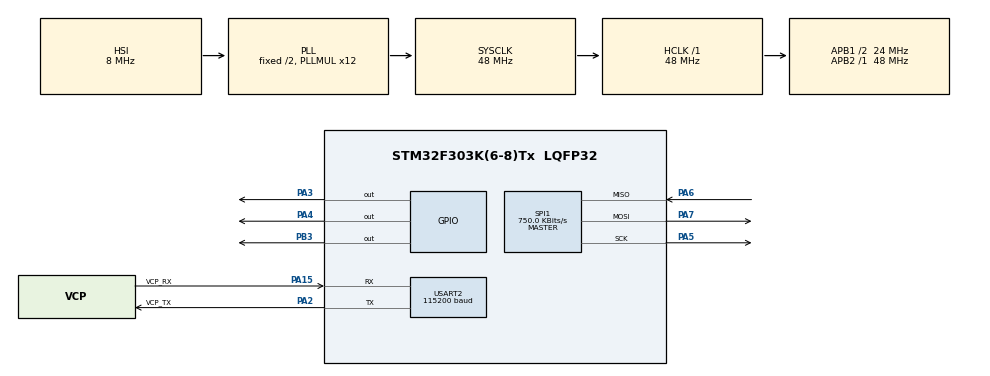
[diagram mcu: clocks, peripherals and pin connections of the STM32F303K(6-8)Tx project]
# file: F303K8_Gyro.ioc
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Mcu.Family=STM32F3
Mcu.Name=STM32F303K(6-8)Tx
Mcu.Package=LQFP32
NVIC.PriorityGroup=NVIC_PRIORITYGROUP_4
NVIC.TIM3_IRQn=true\:0\:0\:false\:false\:true\:true\:true
PA13.GPIO_Label=SWDIO
PA13.Mode=Serial_Wire
PA13.Signal=SYS_JTMS-SWDIO
PA14.GPIO_Label=SWCLK
PA14.Mode=Serial_Wire
PA14.Signal=SYS_JTCK-SWCLK
PA15.GPIO_Label=VCP_RX
PA15.Mode=Asynchronous
PA15.Signal=USART2_RX
PA2.GPIO_Label=VCP_TX
PA2.Mode=Asynchronous
PA2.Signal=USART2_TX
PA3.Signal=GPIO_Output
PA4.Signal=GPIO_Output
PA5.Mode=Full_Duplex_Master
PA5.Signal=SPI1_SCK
PA6.Mode=Full_Duplex_Master
PA6.Signal=SPI1_MISO
PA7.Mode=Full_Duplex_Master
PA7.Signal=SPI1_MOSI
PB3.Signal=GPIO_Output
PF0\ /\ OSC_IN.GPIO_Label=MCO
PF0\ /\ OSC_IN.Mode=HSE-External-Clock-Source
PF0\ /\ OSC_IN.Signal=RCC_OSC_IN
ProjectManager.HeapSize=0x200
ProjectManager.StackSize=0x400
ProjectManager.TargetToolchain=Makefile
RCC.AHBFreq_Value=48000000
RCC.APB1CLKDivider=RCC_HCLK_DIV2
RCC.APB1Freq_Value=24000000
RCC.APB1TimFreq_Value=48000000
RCC.APB2Freq_Value=48000000
RCC.APB2TimFreq_Value=48000000
RCC.CortexFreq_Value=48000000
RCC.HCLKFreq_Value=48000000
RCC.HSE_VALUE=8000000
RCC.HSI_VALUE=8000000
RCC.PLLMUL=RCC_PLL_MUL12
RCC.SYSCLKFreq_VALUE=48000000
RCC.SYSCLKSourceVirtual=RCC_SYSCLKSOURCE_PLLCLK
SPI1.BaudRatePrescaler=SPI_BAUDRATEPRESCALER_64
SPI1.CLKPhase=SPI_PHASE_2EDGE
SPI1.CLKPolarity=SPI_POLARITY_HIGH
SPI1.CalculateBaudRate=750.0 KBits/s
SPI1.DataSize=SPI_DATASIZE_8BIT
SPI1.Direction=SPI_DIRECTION_2LINES
SPI1.Mode=SPI_MODE_MASTER
SPI1.VirtualType=VM_MASTER
TIM3.Period=100-1
TIM3.Prescaler=30
USART2.BaudRate=115200
USART2.VirtualMode-Asynchronous=VM_ASYNC
VP_TIM3_VS_ClockSourceINT.Mode=Internal
board=NUCLEO-F303K8

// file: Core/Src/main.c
/* USER CODE BEGIN Header */
/**
 ******************************************************************************
 * @file           : main.c
 * @brief          : Main program body
 ******************************************************************************
 * @attention
 *
 * <h2><center>&copy; Copyright (c) 2021 STMicroelectronics.
 * All rights reserved.</center></h2>
 *
 * This software component is licensed by ST under BSD 3-Clause license,
 * the "License"; You may not use this file except in compliance with the
 * License. You may obtain a copy of the License at:
 *                        opensource.org/licenses/BSD-3-Clause
 *
 ******************************************************************************
 */
/* USER CODE END Header */
#include "main.h"

/* USER CODE BEGIN Includes */
#include <stdio.h>
#include <stdint.h>
#include <stdbool.h>
#include <string.h>
#include <math.h>

/* USER CODE END Includes */

/* USER CODE BEGIN PD */
#define ADDRESS 0x68
#define WHO_AM_I 0x75

#define PWR_MGMT_1 0x6B
#define CONFIG 0x1A
#define GYRO_CONFIG 0x1B
#define ACCEL_CONFIG 0x1C

#define ACCEL_XOUT_H 0x3B
#define ACCEL_XOUT_L 0x3C
#define ACCEL_YOUT_H 0x3D
#define ACCEL_YOUT_L 0x3E
#define ACCEL_ZOUT_H 0x3F
#define ACCEL_ZOUT_L 0x40

#define GYRO_XOUT_H 0x43
#define GYRO_XOUT_L 0x44
#define GYRO_YOUT_H 0x45
#define GYRO_YOUT_L 0x46
#define GYRO_ZOUT_H 0x47
#define GYRO_ZOUT_L 0x48

#define GYRO_FACTOR 16.4
#define ACCEL_FACTOR 16384.0
/* USER CODE END PD */

SPI_HandleTypeDef hspi1;

TIM_HandleTypeDef htim3;

UART_HandleTypeDef huart2;

void SystemClock_Config(void);
static void MX_GPIO_Init(void);
static void MX_USART2_UART_Init(void);
static void MX_SPI1_Init(void);
static void MX_TIM3_Init(void);

/* USER CODE BEGIN 0 */
int _write(int file, char *ptr, int len)
{
  HAL_UART_Transmit(&huart2, (uint8_t *)ptr, len, 10);
  return len;
}

uint8_t read_byte1(uint8_t reg)
{
  uint8_t rx_data[2];
  uint8_t tx_data[2];

  tx_data[0] = reg | 0x80;
  tx_data[1] = 0x00; // dummy

  HAL_GPIO_WritePin(GPIOA, GPIO_PIN_4, GPIO_PIN_RESET);
  HAL_SPI_TransmitReceive(&hspi1, tx_data, rx_data, 2, 1);
  HAL_GPIO_WritePin(GPIOA, GPIO_PIN_4, GPIO_PIN_SET);

  return rx_data[1];
}

void write_byte1(uint8_t reg, uint8_t data)
{
  uint8_t rx_data[2];
  uint8_t tx_data[2];

  tx_data[0] = reg & 0x7F;
  //   tx_data[0] = reg | 0x00;
  tx_data[1] = data; // write data

  HAL_GPIO_WritePin(GPIOA, GPIO_PIN_4, GPIO_PIN_RESET); // CSピン立ち下げ
  HAL_SPI_TransmitReceive(&hspi1, tx_data, rx_data, 2, 1);
  HAL_GPIO_WritePin(GPIOA, GPIO_PIN_4, GPIO_PIN_SET); // CSピン立ち上げ
}

uint8_t read_byte2(uint8_t reg)
{
  uint8_t rx_data[2];
  uint8_t tx_data[2];

  tx_data[0] = reg | 0x80;
  tx_data[1] = 0x00; // dummy

  HAL_GPIO_WritePin(GPIOA, GPIO_PIN_3, GPIO_PIN_RESET);
  HAL_SPI_TransmitReceive(&hspi1, tx_data, rx_data, 2, 1);
  HAL_GPIO_WritePin(GPIOA, GPIO_PIN_3, GPIO_PIN_SET);

  return rx_data[1];
}

void write_byte2(uint8_t reg, uint8_t data)
{
  uint8_t rx_data[2];
  uint8_t tx_data[2];

  tx_data[0] = reg & 0x7F;
  //   tx_data[0] = reg | 0x00;
  tx_data[1] = data; // write data

  HAL_GPIO_WritePin(GPIOA, GPIO_PIN_3, GPIO_PIN_RESET); // CSピン立ち下げ
  HAL_SPI_TransmitReceive(&hspi1, tx_data, rx_data, 2, 1);
  HAL_GPIO_WritePin(GPIOA, GPIO_PIN_3, GPIO_PIN_SET); // CSピン立ち上げ
}

void MPU6500_1_Init()
{
  HAL_GPIO_WritePin(GPIOB, GPIO_PIN_3, GPIO_PIN_SET);
  uint8_t who_am_i1;

  HAL_Delay(100);                            // wait start up
  who_am_i1 = read_byte1(WHO_AM_I);          // read who am i
  printf("who_am_i1 = 0x%x\r\n", who_am_i1); // check who am i value
  HAL_Delay(10);

  if (who_am_i1 != 0x70)
  {
    printf("mpu6500_1 error");
  }

  HAL_Delay(50);
  write_byte1(PWR_MGMT_1, 0x00); // set pwr_might (20MHz)
  HAL_Delay(50);
  write_byte1(CONFIG, 0x00); // set config (FSYNCはNC)
  HAL_Delay(50);
  write_byte1(GYRO_CONFIG, 0x18); // set gyro config (2000dps)
  HAL_Delay(50);
  write_byte1(ACCEL_CONFIG, 0x00); // set accel config (2g)
  HAL_Delay(50);
}

void MPU6500_2_Init()
{
  uint8_t who_am_i2;

  HAL_Delay(100);                            // wait start up
  who_am_i2 = read_byte2(WHO_AM_I);          // read who am i
  printf("who_am_i2 = 0x%x\r\n", who_am_i2); // check who am i value
  HAL_Delay(10);

  if (who_am_i2 != 0x70)
  {
    printf("mpu6500_2 error");
  }

  HAL_Delay(50);
  write_byte2(PWR_MGMT_1, 0x00); // set pwr_might (20MHz)
  HAL_Delay(50);
  write_byte2(CONFIG, 0x00); // set config (FSYNCはNC)
  HAL_Delay(50);
  write_byte2(GYRO_CONFIG, 0x18); // set gyro config (2000dps)
  HAL_Delay(50);
  write_byte2(ACCEL_CONFIG, 0x00); // set accel config (2g)
}

bool flag_offset;
bool flag_led;
float ax1, ay1, az1;
float gx1, gy1, gz1;
float ax1_offset, ay1_offset, az1_offset;
float gx1_offset, gy1_offset, gz1_offset;

void MPU6500_1_OffsetCalc()
{
  flag_offset = false;
  int16_t ax_raw, ay_raw, az_raw;
  int16_t gx_raw, gy_raw, gz_raw;
  float ax_sum = 0;
  float ay_sum = 0;
  float az_sum = 0;
  float gx_sum = 0;
  float gy_sum = 0;
  float gz_sum = 0;

  for (int i = 0; i < 1000; i++)
  {
    // H:8bit shift, Link h and l
    ax_raw = (int16_t)((uint16_t)(read_byte1(ACCEL_XOUT_H) << 8) | (uint16_t)read_byte1(ACCEL_XOUT_L));
    ay_raw = (int16_t)((uint16_t)(read_byte1(ACCEL_YOUT_H) << 8) | (uint16_t)read_byte1(ACCEL_YOUT_L));
    az_raw = (int16_t)((uint16_t)(read_byte1(ACCEL_ZOUT_H) << 8) | (uint16_t)read_byte1(ACCEL_ZOUT_L));
    gx_raw = (int16_t)((uint16_t)(read_byte1(GYRO_XOUT_H) << 8) | (uint16_t)read_byte1(GYRO_XOUT_L));
    gy_raw = (int16_t)((uint16_t)(read_byte1(GYRO_YOUT_H) << 8) | (uint16_t)read_byte1(GYRO_YOUT_L));
    gz_raw = (int16_t)((uint16_t)(read_byte1(GYRO_ZOUT_H) << 8) | (uint16_t)read_byte1(GYRO_ZOUT_L));

    ax1 = (float)(ax_raw / ACCEL_FACTOR);
    ay1 = (float)(ay_raw / ACCEL_FACTOR);
    az1 = (float)(az_raw / ACCEL_FACTOR);
    gx1 = (float)(gx_raw / GYRO_FACTOR); // dps to deg/sec
    gy1 = (float)(gy_raw / GYRO_FACTOR);
    gz1 = (float)(gz_raw / GYRO_FACTOR);

    ax_sum += ax1;
    ay_sum += ay1;
    az_sum += az1;
    gx_sum += gx1;
    gy_sum += gy1;
    gz_sum += gz1;
    HAL_Delay(1);
  }
  ax1_offset = ax_sum / 1000.0;
  ay1_offset = ay_sum / 1000.0;
  az1_offset = az_sum / 1000.0;
  gx1_offset = gx_sum / 1000.0;
  gy1_offset = gy_sum / 1000.0;
  gz1_offset = gz_sum / 1000.0;
}

float ax2, ay2, az2;
float gx2, gy2, gz2;
float ax2_offset, ay2_offset, az2_offset;
float gx2_offset, gy2_offset, gz2_offset;

void MPU6500_2_OffsetCalc()
{

  int16_t ax_raw, ay_raw, az_raw;
  int16_t gx_raw, gy_raw, gz_raw;
  float ax_sum = 0;
  float ay_sum = 0;
  float az_sum = 0;
  float gx_sum = 0;
  float gy_sum = 0;
  float gz_sum = 0;

  for (int i = 0; i < 1000; i++)
  {
    // H:8bit shift, Link h and l
    ax_raw = (int16_t)((uint16_t)(read_byte2(ACCEL_XOUT_H) << 8) | (uint16_t)read_byte2(ACCEL_XOUT_L));
    ay_raw = (int16_t)((uint16_t)(read_byte2(ACCEL_YOUT_H) << 8) | (uint16_t)read_byte2(ACCEL_YOUT_L));
    az_raw = (int16_t)((uint16_t)(read_byte2(ACCEL_ZOUT_H) << 8) | (uint16_t)read_byte2(ACCEL_ZOUT_L));
    gx_raw = (int16_t)((uint16_t)(read_byte2(GYRO_XOUT_H) << 8) | (uint16_t)read_byte2(GYRO_XOUT_L));
    gy_raw = (int16_t)((uint16_t)(read_byte2(GYRO_YOUT_H) << 8) | (uint16_t)read_byte2(GYRO_YOUT_L));
    gz_raw = (int16_t)((uint16_t)(read_byte2(GYRO_ZOUT_H) << 8) | (uint16_t)read_byte2(GYRO_ZOUT_L));

    ax2 = (float)(ax_raw / ACCEL_FACTOR);
    ay2 = (float)(ay_raw / ACCEL_FACTOR);
    az2 = (float)(az_raw / ACCEL_FACTOR);
    gx2 = (float)(gx_raw / GYRO_FACTOR); // dps to deg/sec
    gy2 = (float)(gy_raw / GYRO_FACTOR);
    gz2 = (float)(gz_raw / GYRO_FACTOR);

    ax_sum += ax2;
    ay_sum += ay2;
    az_sum += az2;
    gx_sum += gx2;
    gy_sum += gy2;
    gz_sum += gz2;
    HAL_Delay(1);
  }
  ax2_offset = ax_sum / 1000.0;
  ay2_offset = ay_sum / 1000.0;
  az2_offset = az_sum / 1000.0;
  gx2_offset = gx_sum / 1000.0;
  gy2_offset = gy_sum / 1000.0;
  gz2_offset = gz_sum / 1000.0;

  HAL_GPIO_WritePin(GPIOB, GPIO_PIN_3, GPIO_PIN_RESET);
  flag_offset = true;
  flag_led = false;
}

const float mu = 9.0;
float Get_MPU6500_Data()
{
  int16_t ax_raw, ay_raw, az_raw;
  int16_t gx_raw, gy_raw, gz_raw;

  // H:8bit shift, Link h and l
  ax_raw = (int16_t)((uint16_t)(read_byte1(ACCEL_XOUT_H) << 8) | (uint16_t)read_byte1(ACCEL_XOUT_L));
  ay_raw = (int16_t)((uint16_t)(read_byte1(ACCEL_YOUT_H) << 8) | (uint16_t)read_byte1(ACCEL_YOUT_L));
  az_raw = (int16_t)((uint16_t)(read_byte1(ACCEL_ZOUT_H) << 8) | (uint16_t)read_byte1(ACCEL_ZOUT_L));
  gx_raw = (int16_t)((uint16_t)(read_byte1(GYRO_XOUT_H) << 8) | (uint16_t)read_byte1(GYRO_XOUT_L));
  gy_raw = (int16_t)((uint16_t)(read_byte1(GYRO_YOUT_H) << 8) | (uint16_t)read_byte1(GYRO_YOUT_L));
  gz_raw = (int16_t)((uint16_t)(read_byte1(GYRO_ZOUT_H) << 8) | (uint16_t)read_byte1(GYRO_ZOUT_L));

  // ax1 = (float)(ax_raw / ACCEL_FACTOR) - ax1_offset;
  // ay1 = (float)(ay_raw / ACCEL_FACTOR) - ay1_offset;
  // az1 = (float)(az_raw / ACCEL_FACTOR) - az1_offset;
  ax1 = (float)(ax_raw / ACCEL_FACTOR);
  ay1 = (float)(ay_raw / ACCEL_FACTOR);
  az1 = (float)(az_raw / ACCEL_FACTOR);
  gx1 = (float)(gx_raw / GYRO_FACTOR) - gx1_offset;
  gy1 = (float)(gy_raw / GYRO_FACTOR) - gy1_offset;
  gz1 = (float)(gz_raw / GYRO_FACTOR) - gz1_offset;

  ax_raw = (int16_t)((uint16_t)(read_byte2(ACCEL_XOUT_H) << 8) | (uint16_t)read_byte2(ACCEL_XOUT_L));
  ay_raw = (int16_t)((uint16_t)(read_byte2(ACCEL_YOUT_H) << 8) | (uint16_t)read_byte2(ACCEL_YOUT_L));
  az_raw = (int16_t)((uint16_t)(read_byte2(ACCEL_ZOUT_H) << 8) | (uint16_t)read_byte2(ACCEL_ZOUT_L));
  gx_raw = (int16_t)((uint16_t)(read_byte2(GYRO_XOUT_H) << 8) | (uint16_t)read_byte2(GYRO_XOUT_L));
  gy_raw = (int16_t)((uint16_t)(read_byte2(GYRO_YOUT_H) << 8) | (uint16_t)read_byte2(GYRO_YOUT_L));
  gz_raw = (int16_t)((uint16_t)(read_byte2(GYRO_ZOUT_H) << 8) | (uint16_t)read_byte2(GYRO_ZOUT_L));

  // ax2 = (float)(ax_raw / ACCEL_FACTOR) - ax2_offset;
  // ay2 = (float)(ay_raw / ACCEL_FACTOR) - ay2_offset;
  // az2 = (float)(az_raw / ACCEL_FACTOR) - az2_offset;
  ax2 = (float)(ax_raw / ACCEL_FACTOR);
  ay2 = (float)(ay_raw / ACCEL_FACTOR);
  az2 = (float)(az_raw / ACCEL_FACTOR);
  gx2 = (float)(gx_raw / GYRO_FACTOR) - gx2_offset;
  gy2 = (float)(gy_raw / GYRO_FACTOR) - gy2_offset;
  gz2 = (float)(gz_raw / GYRO_FACTOR) - gz2_offset;

  // printf("%f, %f, %f \r\n", ax1, ay1, az1);
  // printf("%f, %f, %f \r\n", ax2, ay2, az2);
  // printf("%f\r\n", ay2);
  float mx = az1 - mu * az2;
  float my = ay1 - mu * ay2;
  float theta_b = atan(-mx / my) * 180.0 / M_PI;
  // float theta_b = atan2(-mx, my) * 180.0 / M_PI;
  // printf("%f\r\n", theta_b);

  return theta_b;
}

int count = 0;
int led_count = 0;
// void HAL_TIM_PeriodElapsedCallback(TIM_HandleTypeDef *htim)
// {
//   if (htim == &htim3)
//     if (flag_offset == true)
//     {
//       {
//         count = (count + 1) % 160;
//         if (count == 0)
//         { // time interruption 100Hz
//           float theta = Get_MPU6500_Data();
//           led_count = (count + 1) % 100;
//           // if (led_count == 0)
//           // {
//           //   if (flag_led == true)
//           //     flag_led = false;
//           //   else
//           //     flag_led = true;
//           // }
//           if (led_count % 50 == 0)
//           {
//             // printf("%f, %f, %f, %f, %f, %f \r\n", ax, ay, az, gx, gy, gz);
//             printf("%f \r\n", theta);
//           }
//         }
//       }
//       // HAL_GPIO_WritePin(GPIOB, GPIO_PIN_3, GPIO_PIN_SET);
//       //   if (flag_led == true)
//       //     HAL_GPIO_WritePin(GPIOB, GPIO_PIN_3, GPIO_PIN_SET);
//       //   else
//       //     HAL_GPIO_WritePin(GPIOB, GPIO_PIN_3, GPIO_PIN_RESET);
//     }
// }
/* USER CODE END 0 */

int main(void)
{

  /* MCU Configuration--------------------------------------------------------*/

  /* Reset of all peripherals, Initializes the Flash interface and the Systick. */
  HAL_Init();

  /* Configure the system clock */
  SystemClock_Config();

  /* Initialize all configured peripherals */
  MX_GPIO_Init();
  MX_USART2_UART_Init();
  MX_SPI1_Init();
  MX_TIM3_Init();
  /* USER CODE BEGIN 2 */
  HAL_TIM_Base_Start_IT(&htim3);
  setbuf(stdout, NULL);
  MPU6500_1_Init(); // who_am_i
  MPU6500_2_Init();
  MPU6500_1_OffsetCalc();
  MPU6500_2_OffsetCalc();
  /* USER CODE END 2 */

  /* Infinite loop */
  while (1)
  {
    float theta = Get_MPU6500_Data();
    printf("%f \r\n", theta);
    HAL_Delay(10);
  }
}

void SystemClock_Config(void)
{
  RCC_OscInitTypeDef RCC_OscInitStruct = {0};
  RCC_ClkInitTypeDef RCC_ClkInitStruct = {0};

  /** Initializes the RCC Oscillators according to the specified parameters
   * in the RCC_OscInitTypeDef structure.
   */
  RCC_OscInitStruct.OscillatorType = RCC_OSCILLATORTYPE_HSI;
  RCC_OscInitStruct.HSIState = RCC_HSI_ON;
  RCC_OscInitStruct.HSICalibrationValue = RCC_HSICALIBRATION_DEFAULT;
  RCC_OscInitStruct.PLL.PLLState = RCC_PLL_ON;
  RCC_OscInitStruct.PLL.PLLSource = RCC_PLLSOURCE_HSI;
  RCC_OscInitStruct.PLL.PLLMUL = RCC_PLL_MUL12;
  if (HAL_RCC_OscConfig(&RCC_OscInitStruct) != HAL_OK)
  {
    Error_Handler();
  }
  /** Initializes the CPU, AHB and APB buses clocks
   */
  RCC_ClkInitStruct.ClockType = RCC_CLOCKTYPE_HCLK | RCC_CLOCKTYPE_SYSCLK | RCC_CLOCKTYPE_PCLK1 | RCC_CLOCKTYPE_PCLK2;
  RCC_ClkInitStruct.SYSCLKSource = RCC_SYSCLKSOURCE_PLLCLK;
  RCC_ClkInitStruct.AHBCLKDivider = RCC_SYSCLK_DIV1;
  RCC_ClkInitStruct.APB1CLKDivider = RCC_HCLK_DIV2;
  RCC_ClkInitStruct.APB2CLKDivider = RCC_HCLK_DIV1;

  if (HAL_RCC_ClockConfig(&RCC_ClkInitStruct, FLASH_LATENCY_1) != HAL_OK)
  {
    Error_Handler();
  }
}

static void MX_SPI1_Init(void)
{

  /* SPI1 parameter configuration*/
  hspi1.Instance = SPI1;
  hspi1.Init.Mode = SPI_MODE_MASTER;
  hspi1.Init.Direction = SPI_DIRECTION_2LINES;
  hspi1.Init.DataSize = SPI_DATASIZE_8BIT;
  hspi1.Init.CLKPolarity = SPI_POLARITY_HIGH;
  hspi1.Init.CLKPhase = SPI_PHASE_2EDGE;
  hspi1.Init.NSS = SPI_NSS_SOFT;
  hspi1.Init.BaudRatePrescaler = SPI_BAUDRATEPRESCALER_64;
  hspi1.Init.FirstBit = SPI_FIRSTBIT_MSB;
  hspi1.Init.TIMode = SPI_TIMODE_DISABLE;
  hspi1.Init.CRCCalculation = SPI_CRCCALCULATION_DISABLE;
  hspi1.Init.CRCPolynomial = 7;
  hspi1.Init.CRCLength = SPI_CRC_LENGTH_DATASIZE;
  hspi1.Init.NSSPMode = SPI_NSS_PULSE_DISABLE;
  if (HAL_SPI_Init(&hspi1) != HAL_OK)
  {
    Error_Handler();
  }
}

static void MX_TIM3_Init(void)
{

  TIM_ClockConfigTypeDef sClockSourceConfig = {0};
  TIM_MasterConfigTypeDef sMasterConfig = {0};

  htim3.Instance = TIM3;
  htim3.Init.Prescaler = 30;
  htim3.Init.CounterMode = TIM_COUNTERMODE_UP;
  htim3.Init.Period = 100 - 1;
  htim3.Init.ClockDivision = TIM_CLOCKDIVISION_DIV1;
  htim3.Init.AutoReloadPreload = TIM_AUTORELOAD_PRELOAD_DISABLE;
  if (HAL_TIM_Base_Init(&htim3) != HAL_OK)
  {
    Error_Handler();
  }
  sClockSourceConfig.ClockSource = TIM_CLOCKSOURCE_INTERNAL;
  if (HAL_TIM_ConfigClockSource(&htim3, &sClockSourceConfig) != HAL_OK)
  {
    Error_Handler();
  }
  sMasterConfig.MasterOutputTrigger = TIM_TRGO_RESET;
  sMasterConfig.MasterSlaveMode = TIM_MASTERSLAVEMODE_DISABLE;
  if (HAL_TIMEx_MasterConfigSynchronization(&htim3, &sMasterConfig) != HAL_OK)
  {
    Error_Handler();
  }
}

static void MX_USART2_UART_Init(void)
{

  huart2.Instance = USART2;
  huart2.Init.BaudRate = 115200;
  huart2.Init.WordLength = UART_WORDLENGTH_8B;
  huart2.Init.StopBits = UART_STOPBITS_1;
  huart2.Init.Parity = UART_PARITY_NONE;
  huart2.Init.Mode = UART_MODE_TX_RX;
  huart2.Init.HwFlowCtl = UART_HWCONTROL_NONE;
  huart2.Init.OverSampling = UART_OVERSAMPLING_16;
  huart2.Init.OneBitSampling = UART_ONE_BIT_SAMPLE_DISABLE;
  huart2.AdvancedInit.AdvFeatureInit = UART_ADVFEATURE_NO_INIT;
  if (HAL_UART_Init(&huart2) != HAL_OK)
  {
    Error_Handler();
  }
}

static void MX_GPIO_Init(void)
{
  GPIO_InitTypeDef GPIO_InitStruct = {0};

  /* GPIO Ports Clock Enable */
  __HAL_RCC_GPIOF_CLK_ENABLE();
  __HAL_RCC_GPIOA_CLK_ENABLE();
  __HAL_RCC_GPIOB_CLK_ENABLE();

  /*Configure GPIO pin Output Level */
  HAL_GPIO_WritePin(GPIOA, GPIO_PIN_3 | GPIO_PIN_4, GPIO_PIN_RESET);

  /*Configure GPIO pin Output Level */
  HAL_GPIO_WritePin(GPIOB, GPIO_PIN_3, GPIO_PIN_RESET);

  /*Configure GPIO pins : PA3 PA4 */
  GPIO_InitStruct.Pin = GPIO_PIN_3 | GPIO_PIN_4;
  GPIO_InitStruct.Mode = GPIO_MODE_OUTPUT_PP;
  GPIO_InitStruct.Pull = GPIO_NOPULL;
  GPIO_InitStruct.Speed = GPIO_SPEED_FREQ_LOW;
  HAL_GPIO_Init(GPIOA, &GPIO_InitStruct);

  /*Configure GPIO pin : PB3 */
  GPIO_InitStruct.Pin = GPIO_PIN_3;
  GPIO_InitStruct.Mode = GPIO_MODE_OUTPUT_PP;
  GPIO_InitStruct.Pull = GPIO_NOPULL;
  GPIO_InitStruct.Speed = GPIO_SPEED_FREQ_LOW;
  HAL_GPIO_Init(GPIOB, &GPIO_InitStruct);
}

void Error_Handler(void)
{
  __disable_irq();
  while (1)
  {
  }
}

/************************ (C) COPYRIGHT STMicroelectronics *****END OF FILE****/
